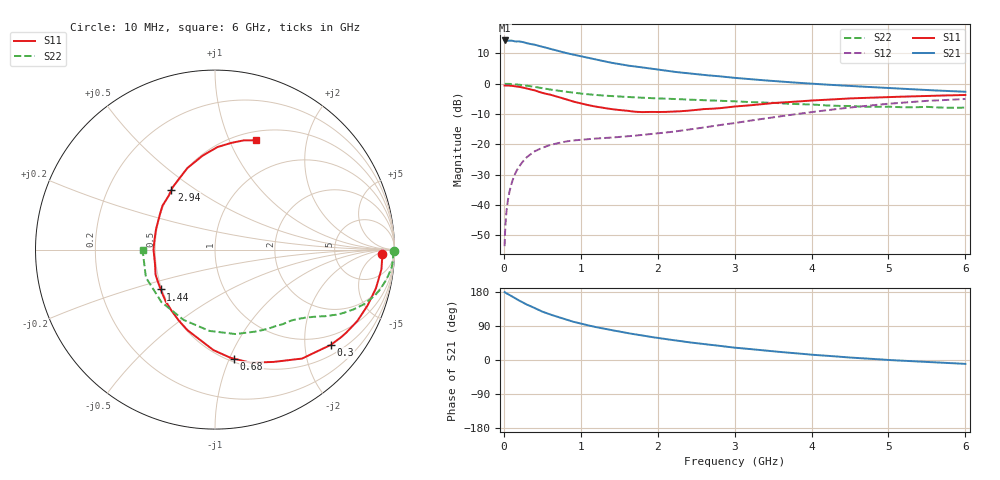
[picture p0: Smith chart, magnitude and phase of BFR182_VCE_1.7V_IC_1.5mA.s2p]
! Infineon Technologies  Discrete & RF Semiconductors
! BFR182
! VCE =  1.7 V,  IC =  1.5 mA
! Common Emitter S-Parameters:  Nov 2015
# GHz  S  MA  R  50
!  f  S11  S21  S12  S22
! GHz  MAG  ANG  MAG  ANG  MAG  ANG  MAG  ANG
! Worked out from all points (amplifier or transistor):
!   210 points, 10 MHz to 6 GHz, reference 50 ohm
!   highest |S21| = 14.2 dB at 10 MHz (marker M1)
!   |S21| within 3 dB of that: start of sweep to 639.4 MHz
!   unconditionally stable (mu >= 1): 1.582 GHz to 3.221 GHz
!   at 185 MHz: K = 0.16, MSG = 20.9 dB, |S12| = -27.9 dB
!   at 1.52 GHz: K = 0.98, MSG = 12.0 dB, |S12| = -17.5 dB
!   at 6 GHz: K = 0.92, MSG = 1.2 dB, |S12| = -5.0 dB
!   S11 on the Smith chart (normalised r, x): 10 MHz: 25, -9; 300 MHz: 0.74, -2.60; 680 MHz: 0.53, -1.04; 1.44 GHz: 0.49, -0.25; 2.94 GHz: 0.50, +0.40; 6 GHz: 0.60, +1.27
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0.01  0.9312 -1.4  5.154 179.1  0.0021 91.1  0.9972 -0.6
0.02  0.9326 -2.8  5.031 177.6  0.0045 87.6  0.9919 -1.2
0.035  0.9326 -4.8  5.073 175.9  0.0079 87.0  0.9928 -2.1
0.085  0.9243 -11.5  5.126 170.4  0.0192 83.0  0.9905 -4.9
0.15  0.9053 -20.1  4.963 162.2  0.0335 77.5  0.9758 -8.6
0.2  0.887 -26.7  4.971 156.8  0.0434 74.2  0.962 -11.1
0.24  0.8655 -32.3  4.874 152.3  0.0508 71.0  0.9477 -13.3
0.3  0.8352 -39.5  4.638 146.2  0.0616 67.5  0.9257 -16.1
0.4  0.7771 -51.4  4.39 137.2  0.0767 61.5  0.8871 -19.9
0.5  0.7055 -62.5  4.07 127.7  0.0878 56.5  0.8416 -23.3
0.68  0.617 -80.0  3.538 115.0  0.1031 50.0  0.7745 -27.7
0.86  0.5277 -95.9  3.093 103.6  0.114 45.8  0.7233 -30.7
1.02  0.4673 -110.5  2.803 95.0  0.1194 44.0  0.6834 -33.1
1.2  0.4177 -125.5  2.502 86.7  0.1248 43.0  0.651 -35.3
1.44  0.3754 -143.8  2.169 77.4  0.1305 43.5  0.6201 -38.0
1.7  0.3453 -165.0  1.926 67.9  0.139 45.3  0.5952 -40.9
2.02  0.3414 172.8  1.693 57.7  0.1529 48.6  0.5712 -44.9
2.94  0.4115 126.2  1.269 34.1  0.2192 54.5  0.5151 -61.6
3.1  0.4293 120.7  1.216 30.8  0.2351 54.3  0.5043 -65.5
4.1  0.5356 95.6  0.981 12.6  0.3526 48.3  0.4449 -97.6
5.1  0.6066 80.0  0.837 -0.9  0.477 35.1  0.4122 -140.0
6  0.6511 69.2  0.736 -10.2  0.5594 20.0  0.4035 -179.6
